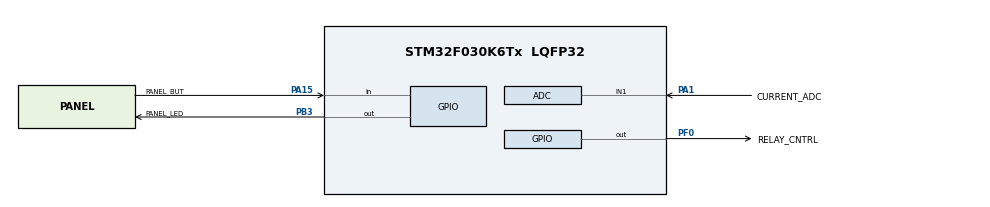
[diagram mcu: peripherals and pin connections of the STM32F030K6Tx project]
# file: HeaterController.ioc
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Mcu.Family=STM32F0
Mcu.Name=STM32F030K6Tx
Mcu.Package=LQFP32
PA1.GPIO_Label=CURRENT_ADC
PA1.Mode=IN1
PA1.Signal=ADC_IN1
PA13.Mode=Serial_Wire
PA13.Signal=SYS_SWDIO
PA14.Mode=Serial_Wire
PA14.Signal=SYS_SWCLK
PA15.GPIO_Label=PANEL_BUT
PA15.GPIO_PuPd=GPIO_PULLUP
PA15.Signal=GPIO_Input
PB3.GPIO_Label=PANEL_LED
PB3.Signal=GPIO_Output
PF0-OSC_IN.GPIO_Label=RELAY_CNTRL
PF0-OSC_IN.Signal=GPIO_Output
ProjectManager.HeapSize=0x200
ProjectManager.StackSize=0x400
ProjectManager.TargetToolchain=EWARM V8
board=custom

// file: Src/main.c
/* USER CODE BEGIN Header */
/**
  ******************************************************************************
  * @file           : main.c
  * @brief          : Main program body
  ******************************************************************************
  ** This notice applies to any and all portions of this file
  * that are not between comment pairs USER CODE BEGIN and
  * USER CODE END. Other portions of this file, whether
  * inserted by the user or by software development tools
  * are owned by their respective copyright owners.
  *
  * COPYRIGHT(c) 2019 STMicroelectronics
  *
  * Redistribution and use in source and binary forms, with or without modification,
  * are permitted provided that the following conditions are met:
  *   1. Redistributions of source code must retain the above copyright notice,
  *      this list of conditions and the following disclaimer.
  *   2. Redistributions in binary form must reproduce the above copyright notice,
  *      this list of conditions and the following disclaimer in the documentation
  *      and/or other materials provided with the distribution.
  *   3. Neither the name of STMicroelectronics nor the names of its contributors
  *      may be used to endorse or promote products derived from this software
  *      without specific prior written permission.
  *
  * THIS SOFTWARE IS PROVIDED BY THE COPYRIGHT HOLDERS AND CONTRIBUTORS "AS IS"
  * AND ANY EXPRESS OR IMPLIED WARRANTIES, INCLUDING, BUT NOT LIMITED TO, THE
  * IMPLIED WARRANTIES OF MERCHANTABILITY AND FITNESS FOR A PARTICULAR PURPOSE ARE
  * DISCLAIMED. IN NO EVENT SHALL THE COPYRIGHT HOLDER OR CONTRIBUTORS BE LIABLE
  * FOR ANY DIRECT, INDIRECT, INCIDENTAL, SPECIAL, EXEMPLARY, OR CONSEQUENTIAL
  * DAMAGES (INCLUDING, BUT NOT LIMITED TO, PROCUREMENT OF SUBSTITUTE GOODS OR
  * SERVICES; LOSS OF USE, DATA, OR PROFITS; OR BUSINESS INTERRUPTION) HOWEVER
  * CAUSED AND ON ANY THEORY OF LIABILITY, WHETHER IN CONTRACT, STRICT LIABILITY,
  * OR TORT (INCLUDING NEGLIGENCE OR OTHERWISE) ARISING IN ANY WAY OUT OF THE USE
  * OF THIS SOFTWARE, EVEN IF ADVISED OF THE POSSIBILITY OF SUCH DAMAGE.
  *
  ******************************************************************************
  */
/* USER CODE END Header */

#include "main.h"

/* USER CODE BEGIN Includes */

#include <stdlib.h>

/* USER CODE END Includes */

/* USER CODE BEGIN PTD */
//Panel button possible states:
typedef enum {
  UNPRESSED = 0,
  PRESSED
} panel_button_state_t;

//Heater load states:
typedef enum {
  LOAD_TOO_SMALL = 0,
  LOAD_OK
} heater_load_state_t;
/* USER CODE END PTD */

//Load switch states:
typedef enum {
  LOAD_OFF = 0,
  LOAD_ON
} load_switch_state_t;

//error flag states:
typedef enum {
  NO_ERROR = 0,
  ERROR_PRESENT
}error_flag_state_t;
/* USER CODE END PTD */

/* USER CODE BEGIN PD */
#define PANEL_BUTTON_DEBOUNCE_DELAY_MS          50

#define PANEL_LED_BLINK_INTERVAL_MS             1000 //1 sec

#define PANEL_ERROR_LED_BLINK_INTERVAL_MS       200 //1 sec

#define ADC_SAMPLE_NUMBER                       20

#define ADC_SAMPLE_PERIOD_MS                    3

#define ADC_CONV_TIMEOUT_MS                     1000 //1 sec

#define ADC_REF_VOLT_MV                         3300 //3.3V

//TODO this value should be calibrated when no load:
#define ADC_ZERO_CURR_VOLT_MV                   1652 //1.652V

#define CURR_SENS_SENSITIVITY_MV                185 //185 mV/A

#define LOAD_CURR_THRESHOLD_MA                  150 //mA
/* USER CODE END PD */

ADC_HandleTypeDef hadc;

/* USER CODE BEGIN PV */

static error_flag_state_t _error_flag = NO_ERROR;

/* USER CODE END PV */

void SystemClock_Config(void);
static void MX_GPIO_Init(void);
static void MX_ADC_Init(void);
/* USER CODE BEGIN PFP */
static panel_button_state_t getPanelButtonState(void);
static void setLoadSwitchState(load_switch_state_t load_switch_state);
static load_switch_state_t getLoadSwitchState(void);
static int32_t convToCurrent(int32_t adc_value);
static heater_load_state_t check_load(void);
/* USER CODE END PFP */

int main(void)
{
  /* USER CODE BEGIN 1 */
  panel_button_state_t _panel_but_current_state = UNPRESSED;

  heater_load_state_t _heater_load_state = LOAD_OK;

  uint32_t _led_state_change_time = 0;
  /* USER CODE END 1 */

  /* MCU Configuration--------------------------------------------------------*/

  /* Reset of all peripherals, Initializes the Flash interface and the Systick. */
  HAL_Init();

  /* Configure the system clock */
  SystemClock_Config();

  /* Initialize all configured peripherals */
  MX_GPIO_Init();
  MX_ADC_Init();

  /* Infinite loop */
  while (1)
  {

    /* USER CODE BEGIN 3 */
    _panel_but_current_state = getPanelButtonState();

    if (_panel_but_current_state == PRESSED){
      if (getLoadSwitchState() == LOAD_OFF){ //switch load on if not yet switched
        setLoadSwitchState(LOAD_ON);
      }

      //check load:
      _heater_load_state = check_load();

    }
    else{
      if (getLoadSwitchState() == LOAD_ON){ //switch load off if not yet switched
        setLoadSwitchState(LOAD_OFF);
      }
    }

    //panel LED logic:
    if (_error_flag == ERROR_PRESENT){
      if ((HAL_GetTick() - _led_state_change_time) > PANEL_ERROR_LED_BLINK_INTERVAL_MS){
        _led_state_change_time = HAL_GetTick();
        HAL_GPIO_TogglePin(PANEL_LED_GPIO_Port, PANEL_LED_Pin);
      }
    }
    else{
      if (_panel_but_current_state == PRESSED) {
        if (_heater_load_state == LOAD_OK){ //load ok, led on
          HAL_GPIO_WritePin(PANEL_LED_GPIO_Port, PANEL_LED_Pin, GPIO_PIN_SET);
        }
        else{ //led not ok, led blinking
          if ((HAL_GetTick() - _led_state_change_time) > PANEL_LED_BLINK_INTERVAL_MS){
            _led_state_change_time = HAL_GetTick();
            HAL_GPIO_TogglePin(PANEL_LED_GPIO_Port, PANEL_LED_Pin);
          }
        }
      }
      else {
        HAL_GPIO_WritePin(PANEL_LED_GPIO_Port, PANEL_LED_Pin, GPIO_PIN_RESET);
      }
    }
  }
  /* USER CODE END 3 */
}

void SystemClock_Config(void)
{
  RCC_OscInitTypeDef RCC_OscInitStruct = {0};
  RCC_ClkInitTypeDef RCC_ClkInitStruct = {0};

  /**Initializes the CPU, AHB and APB busses clocks
  */
  RCC_OscInitStruct.OscillatorType = RCC_OSCILLATORTYPE_HSI|RCC_OSCILLATORTYPE_HSI14;
  RCC_OscInitStruct.HSIState = RCC_HSI_ON;
  RCC_OscInitStruct.HSI14State = RCC_HSI14_ON;
  RCC_OscInitStruct.HSICalibrationValue = RCC_HSICALIBRATION_DEFAULT;
  RCC_OscInitStruct.HSI14CalibrationValue = 16;
  RCC_OscInitStruct.PLL.PLLState = RCC_PLL_NONE;
  if (HAL_RCC_OscConfig(&RCC_OscInitStruct) != HAL_OK)
  {
    Error_Handler();
  }
  /**Initializes the CPU, AHB and APB busses clocks
  */
  RCC_ClkInitStruct.ClockType = RCC_CLOCKTYPE_HCLK|RCC_CLOCKTYPE_SYSCLK
                              |RCC_CLOCKTYPE_PCLK1;
  RCC_ClkInitStruct.SYSCLKSource = RCC_SYSCLKSOURCE_HSI;
  RCC_ClkInitStruct.AHBCLKDivider = RCC_SYSCLK_DIV1;
  RCC_ClkInitStruct.APB1CLKDivider = RCC_HCLK_DIV1;

  if (HAL_RCC_ClockConfig(&RCC_ClkInitStruct, FLASH_LATENCY_0) != HAL_OK)
  {
    Error_Handler();
  }
}

static void MX_ADC_Init(void)
{

  ADC_ChannelConfTypeDef sConfig = {0};

  /**Configure the global features of the ADC (Clock, Resolution, Data Alignment and number of conversion)
  */
  hadc.Instance = ADC1;
  hadc.Init.ClockPrescaler = ADC_CLOCK_ASYNC_DIV1;
  hadc.Init.Resolution = ADC_RESOLUTION_12B;
  hadc.Init.DataAlign = ADC_DATAALIGN_RIGHT;
  hadc.Init.ScanConvMode = ADC_SCAN_DIRECTION_FORWARD;
  hadc.Init.EOCSelection = ADC_EOC_SINGLE_CONV;
  hadc.Init.LowPowerAutoWait = DISABLE;
  hadc.Init.LowPowerAutoPowerOff = DISABLE;
  hadc.Init.ContinuousConvMode = DISABLE;
  hadc.Init.DiscontinuousConvMode = DISABLE;
  hadc.Init.ExternalTrigConv = ADC_SOFTWARE_START;
  hadc.Init.ExternalTrigConvEdge = ADC_EXTERNALTRIGCONVEDGE_NONE;
  hadc.Init.DMAContinuousRequests = DISABLE;
  hadc.Init.Overrun = ADC_OVR_DATA_PRESERVED;
  if (HAL_ADC_Init(&hadc) != HAL_OK)
  {
    Error_Handler();
  }
  /**Configure for the selected ADC regular channel to be converted.
  */
  sConfig.Channel = ADC_CHANNEL_1;
  sConfig.Rank = ADC_RANK_CHANNEL_NUMBER;
  sConfig.SamplingTime = ADC_SAMPLETIME_1CYCLE_5;
  if (HAL_ADC_ConfigChannel(&hadc, &sConfig) != HAL_OK)
  {
    Error_Handler();
  }

}

static void MX_GPIO_Init(void)
{
  GPIO_InitTypeDef GPIO_InitStruct = {0};

  /* GPIO Ports Clock Enable */
  __HAL_RCC_GPIOF_CLK_ENABLE();
  __HAL_RCC_GPIOA_CLK_ENABLE();
  __HAL_RCC_GPIOB_CLK_ENABLE();

  /*Configure GPIO pin Output Level */
  HAL_GPIO_WritePin(RELAY_CNTRL_GPIO_Port, RELAY_CNTRL_Pin, GPIO_PIN_RESET);

  /*Configure GPIO pin Output Level */
  HAL_GPIO_WritePin(PANEL_LED_GPIO_Port, PANEL_LED_Pin, GPIO_PIN_RESET);

  /*Configure GPIO pin : RELAY_CNTRL_Pin */
  GPIO_InitStruct.Pin = RELAY_CNTRL_Pin;
  GPIO_InitStruct.Mode = GPIO_MODE_OUTPUT_PP;
  GPIO_InitStruct.Pull = GPIO_NOPULL;
  GPIO_InitStruct.Speed = GPIO_SPEED_FREQ_LOW;
  HAL_GPIO_Init(RELAY_CNTRL_GPIO_Port, &GPIO_InitStruct);

  /*Configure GPIO pin : PANEL_BUT_Pin */
  GPIO_InitStruct.Pin = PANEL_BUT_Pin;
  GPIO_InitStruct.Mode = GPIO_MODE_INPUT;
  GPIO_InitStruct.Pull = GPIO_PULLUP;
  HAL_GPIO_Init(PANEL_BUT_GPIO_Port, &GPIO_InitStruct);

  /*Configure GPIO pin : PANEL_LED_Pin */
  GPIO_InitStruct.Pin = PANEL_LED_Pin;
  GPIO_InitStruct.Mode = GPIO_MODE_OUTPUT_PP;
  GPIO_InitStruct.Pull = GPIO_NOPULL;
  GPIO_InitStruct.Speed = GPIO_SPEED_FREQ_LOW;
  HAL_GPIO_Init(PANEL_LED_GPIO_Port, &GPIO_InitStruct);

}

/* USER CODE BEGIN 4 */

//get current panel button state:
static panel_button_state_t getPanelButtonState(void)
{
  GPIO_PinState _but_state_0 = HAL_GPIO_ReadPin(PANEL_BUT_GPIO_Port, PANEL_BUT_Pin);

  //to overcome some instabilities of button state:
  uint32_t _sample_uptime = HAL_GetTick();
  while ((HAL_GetTick() - _sample_uptime) < PANEL_BUTTON_DEBOUNCE_DELAY_MS)
    ;

  //if states not equal resample again:
  if (_but_state_0 != HAL_GPIO_ReadPin(PANEL_BUT_GPIO_Port, PANEL_BUT_Pin)){
    _sample_uptime = HAL_GetTick();
    while ((HAL_GetTick() - _sample_uptime) < PANEL_BUTTON_DEBOUNCE_DELAY_MS)
      ;

    _but_state_0 = HAL_GPIO_ReadPin(PANEL_BUT_GPIO_Port, PANEL_BUT_Pin);
  }

  //convert to actual button state:
  if (_but_state_0 == GPIO_PIN_RESET){
    return PRESSED;
  }
  else{
    return UNPRESSED;
  }
}

//load switching relay control:
static void setLoadSwitchState(load_switch_state_t load_switch_state)
{
  if (load_switch_state == LOAD_ON){
    HAL_GPIO_WritePin(RELAY_CNTRL_GPIO_Port, RELAY_CNTRL_Pin, GPIO_PIN_SET);
  }
  else{
    HAL_GPIO_WritePin(RELAY_CNTRL_GPIO_Port, RELAY_CNTRL_Pin, GPIO_PIN_RESET);
  }
}

//get current load switch state:
static load_switch_state_t getLoadSwitchState(void)
{
  if (HAL_GPIO_ReadPin(RELAY_CNTRL_GPIO_Port, RELAY_CNTRL_Pin) == GPIO_PIN_SET){
    return LOAD_ON;
  }
  else{
    return LOAD_OFF;
  }
}

//convert ACS712 ADC value to mA:
static int32_t convToCurrent(int32_t adc_value)
{
  //convert to uV:
  int32_t _tmp = ADC_REF_VOLT_MV * 1000 / 4095 * adc_value;

  //converte to voltage amplitude, uV:
  _tmp = abs(_tmp - ADC_ZERO_CURR_VOLT_MV * 1000);

  //return current value in mA:
  return _tmp / CURR_SENS_SENSITIVITY_MV;
}

//check load by measuring current:
static heater_load_state_t check_load(void)
{
  int32_t _data[ADC_SAMPLE_NUMBER] = {0};
  uint32_t _time_last_sample = 0;
  int32_t _avrg_curr = 0;

  for (uint32_t i = 0; i < ADC_SAMPLE_NUMBER; i++) {
    _time_last_sample = HAL_GetTick();

    //start ADC conversation to check load current consumption:
    HAL_ADC_Start(&hadc);

    //wait for ADC conversation to finish:
    if (HAL_ADC_PollForConversion(&hadc, ADC_CONV_TIMEOUT_MS) == HAL_OK){
      _data[i] = HAL_ADC_GetValue(&hadc);

      _data[i] = convToCurrent(_data[i]);//convert to current mA
    }
    else{ //rise an error flag
      _error_flag = ERROR_PRESENT;
      return LOAD_TOO_SMALL;
    }

    //delay between samples:
    while ((HAL_GetTick() - _time_last_sample) < ADC_SAMPLE_PERIOD_MS)
      ;
  }

  //calculate average current:
  for (uint32_t i = 0; i < ADC_SAMPLE_NUMBER; i++){
    _avrg_curr = _data[i];
  }
  _avrg_curr = _avrg_curr / ADC_SAMPLE_NUMBER;

  if (_avrg_curr > LOAD_CURR_THRESHOLD_MA){ //over threshold
    return LOAD_OK;
  }
  else{
    return LOAD_TOO_SMALL;
  }
}

/* USER CODE END 4 */

void Error_Handler(void)
{
}

/************************ (C) COPYRIGHT STMicroelectronics *****END OF FILE****/
